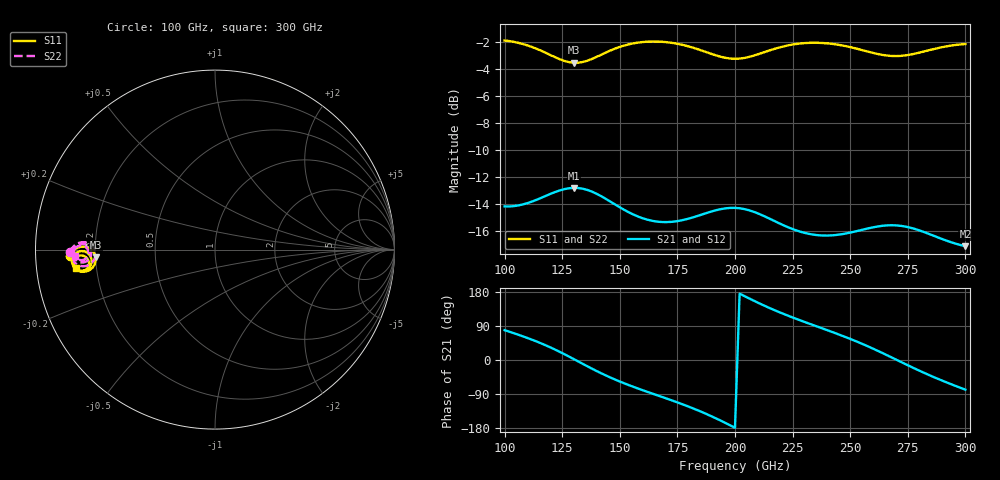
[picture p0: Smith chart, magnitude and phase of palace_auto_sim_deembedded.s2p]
! Created with skrf 1.11.0 (http://scikit-rf.org).
# GHz S DB R 50.0
!freq dBS11 angS11 dBS21 angS21 dBS12 angS12 dBS22 angS22
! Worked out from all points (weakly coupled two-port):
!   101 points, 100 GHz to 300 GHz, reference 50 ohm
!   highest |S21| = -12.80 dB at 130 GHz (marker M1); lowest = -17.1 dB at 300 GHz (marker M2)
!   lowest |S11| = -3.5 dB at 130 GHz (marker M3), VSWR 5.01, Z = 10 - j1.53 ohm
!   |S11| at or under -10 dB: nowhere
!   |S22| runs from -3.5 to -1.9 dB; largest |S21 - S12| = 3.3e-14
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100  -1.86 -177.3  -14.18 78.7  -14.18 78.7  -1.86 -178.9
116  -2.63 178.7  -13.53 43.5  -13.53 43.5  -2.64 176.8
122  -3.11 179.5  -13.11 27.2  -13.11 27.2  -3.11 177.4
130  -3.52 -176.3  -12.80 2.5  -12.80 2.5  -3.52 -178.5
134  -3.46 -173.7  -12.87 -10.4  -12.87 -10.4  -3.46 -175.9
142  -2.91 -170.5  -13.43 -35.2  -13.43 -35.2  -2.92 -172.9
148  -2.46 -170.6  -14.04 -51.7  -14.04 -51.7  -2.47 -173.0
158  -2.02 -173.0  -14.94 -75.5  -14.94 -75.5  -2.02 -175.6
168  -1.96 -176.1  -15.33 -96.8  -15.33 -96.8  -1.96 -178.9
178  -2.22 -178.6  -15.17 -118.7  -15.17 -118.7  -2.22 178.4
186  -2.64 -179.3  -14.76 -138.3  -14.76 -138.3  -2.64 177.6
194  -3.08 -177.8  -14.37 -160.6  -14.37 -160.6  -3.08 179.0
200  -3.22 -175.1  -14.29 -178.8  -14.29 -178.8  -3.23 -178.4
206  -3.09 -172.5  -14.46 162.9  -14.46 162.9  -3.09 -175.9
216  -2.55 -170.9  -15.17 134.5  -15.17 134.5  -2.55 -174.5
234  -2.03 -174.2  -16.27 92.0  -16.27 92.0  -2.04 -178.1
252  -2.44 -177.5  -16.05 50.7  -16.05 50.7  -2.45 178.3
260  -2.79 -177.0  -15.73 29.7  -15.73 29.7  -2.81 178.7
268  -3.01 -174.7  -15.58 6.8  -15.58 6.8  -3.03 -179.2
276  -2.92 -172.1  -15.75 -16.7  -15.75 -16.7  -2.94 -176.6
284  -2.60 -170.8  -16.21 -39.1  -16.21 -39.1  -2.61 -175.5
300  -2.13 -172.6  -17.13 -78.3  -17.13 -78.3  -2.15 -177.5
